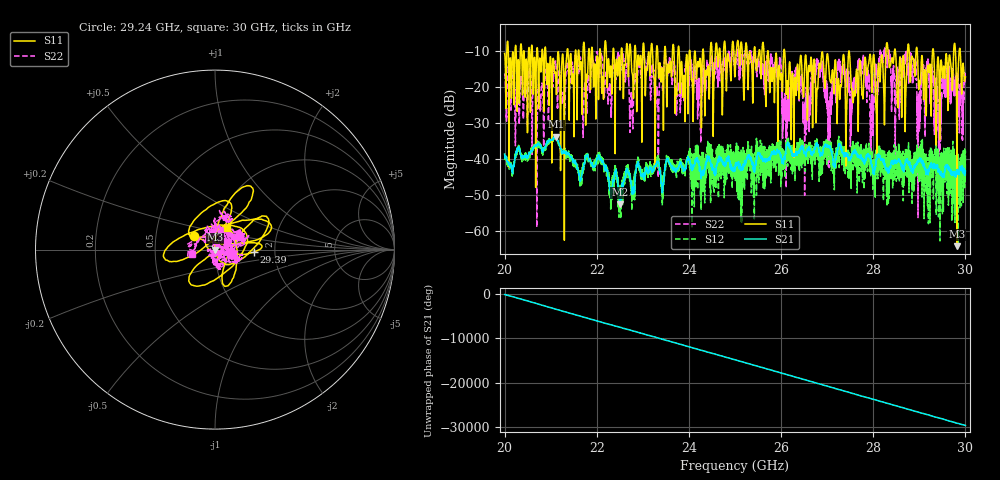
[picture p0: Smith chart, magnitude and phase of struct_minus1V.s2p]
#  HZ  S  RI  R  50.00
! Rohde & Schwarz ZVA40 4Ports - Version 3.90 - 1145.1110k42 SN: 100403
! Date: 2023-09-21 06:55:07
! Measurements: S11 S21 S12 S22
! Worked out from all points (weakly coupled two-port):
!   5000 points, 20 GHz to 30 GHz, reference 50 ohm
!   highest |S21| = -33.75 dB at 21.11 GHz (marker M1); lowest = -52.5 dB at 22.5 GHz (marker M2)
!   lowest |S11| = -64.2 dB at 29.81 GHz (marker M3), VSWR 1.00, Z = 50.1 - j0.0068 ohm
!   |S11| at or under -10 dB: 20.89 GHz to 21.36 GHz (462.9 MHz wide, 2.19 % of centre); 26.08 GHz to 27.47 GHz (1.396 GHz wide, 5.21 % of centre); 27.47 GHz to 28.28 GHz (801.8 MHz wide, 2.88 % of centre)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
!   |S22| runs from -58.9 to -9.1 dB; largest |S21 - S12| = 0.014
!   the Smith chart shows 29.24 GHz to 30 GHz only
!   S11 on the Smith chart (normalised r, x): 29.24 GHz: 0.78, +0.12; 29.39 GHz: 1.55, -0.05; 30 GHz: 1.11, +0.27
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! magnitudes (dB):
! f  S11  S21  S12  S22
! 20 GHz  -10.7  -38.6  -38.4  -16.2
! 21.11 GHz  -16.8  -33.8  -33.7  -13.7
! 21.67 GHz  -15.1  -45.6  -46.8  -15.1
! 22.5 GHz  -17.5  -52.5  -48.9  -14.1
! 22.75 GHz  -12.6  -46.2  -49.9  -22.1
! 23.02 GHz  -8.8  -45.7  -45.7  -11.3
! 23.33 GHz  -14.8  -40.6  -40.1  -45.1
! 25 GHz  -16.2  -42.4  -39.3  -15.3
! 25.96 GHz  -14.1  -38.4  -39.3  -14.9
! 26.08 GHz  -10.5  -40.1  -45.1  -22.9
! 26.67 GHz  -14.6  -38.2  -43.2  -15.7
! 27.05 GHz  -17.0  -36.6  -37.5  -35.4
! 27.26 GHz  -19.2  -36.0  -37.1  -12.5
! 27.77 GHz  -22.8  -40.0  -41.7  -13.3
! 27.97 GHz  -19.7  -42.0  -43.5  -23.6
! 28.33 GHz  -12.3  -42.8  -41.0  -10.8
! 28.99 GHz  -20.2  -40.2  -45.9  -32.3
! 29.24 GHz  -17.0  -42.0  -36.7  -16.2
! 29.39 GHz  -13.3  -41.8  -41.4  -22.4
! 29.81 GHz  -64.2  -43.7  -42.8  -16.1
! 30 GHz  -17.3  -43.5  -44.6  -17.5
! 30 GHz  -17.1  -43.3  -37.7  -17.0
